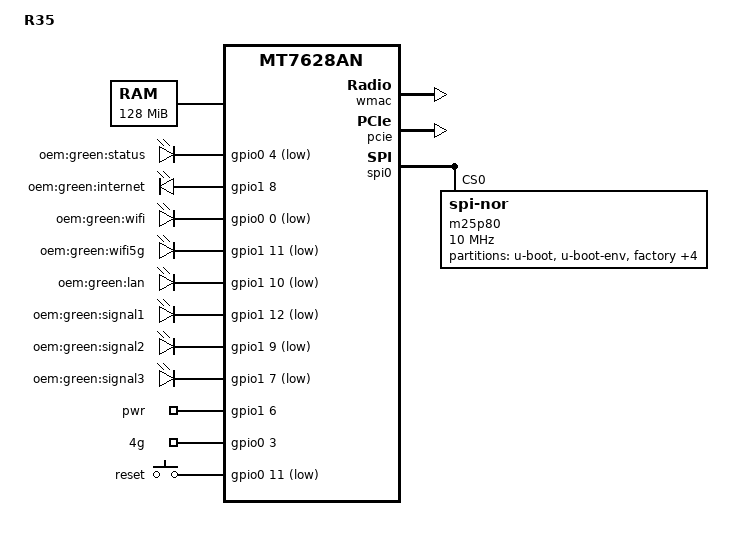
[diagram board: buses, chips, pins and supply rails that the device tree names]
/dts-v1/;

#include "mt7628an.dtsi"

#include <dt-bindings/input/input.h>
#include <dt-bindings/gpio/gpio.h>

/ {
	compatible = "OEM,MT7628", "mediatek,mt7628an-soc";
	model = "R35";

	chosen {
		bootargs = "console=ttyS0,115200";
	};

	memory@0 {
		device_type = "memory";
		reg = <0x0 0x8000000>;
	};

	gpio-leds {
		compatible = "gpio-leds";
		status {
			label = "oem:green:status";
			gpios = <&gpio0 4 GPIO_ACTIVE_LOW>;
		};

		internet {
			label = "oem:green:internet";
			gpios = <&gpio1 8 GPIO_ACTIVE_HIGH>;
		};

		wifi {
			label = "oem:green:wifi";
			gpios = <&gpio0 0 GPIO_ACTIVE_LOW>;
		};

		wifi5g {
			label = "oem:green:wifi5g";
			gpios = <&gpio1 11 GPIO_ACTIVE_LOW>;
		};

		lan {
			label = "oem:green:lan";
			gpios = <&gpio1 10 GPIO_ACTIVE_LOW>;
		};

		signal1 {
			label = "oem:green:signal1";
			gpios = <&gpio1 12 GPIO_ACTIVE_LOW>;
		};

		signal2 {
			label = "oem:green:signal2";
			gpios = <&gpio1 9 GPIO_ACTIVE_LOW>;
		};

		signal3 {
			label = "oem:green:signal3";
			gpios = <&gpio1 7 GPIO_ACTIVE_LOW>;
		};
	};

	gpio_export {
		compatible = "gpio-export";
		#size-cells = <0>;

		pwr {
			gpio-export,name = "pwr";
			gpio-export,output = <0>;
			gpios = <&gpio1 6 GPIO_ACTIVE_HIGH>;
		};

		usb4g {
			gpio-export,name = "4g";
			gpio-export,output = <0>;
			gpios = <&gpio0 3 GPIO_ACTIVE_HIGH>;
		};
	};

	gpio-keys-polled {
		compatible = "gpio-keys-polled";
		#address-cells = <1>;
		#size-cells = <0>;
		poll-interval = <20>;
		reset {
			label = "reset";
			gpios = <&gpio0 11 GPIO_ACTIVE_LOW>;
			linux,code = <KEY_RESTART>;
		};
	};
};

&ethernet {
	mtd-mac-address = <&bdinfo 0xDE00>;
	mediatek,port-map = "lllwl";
};

&pinctrl {
	state_default: pinctrl0 {
		gpio {
			ralink,group = "refclk", "wled_an", "gpio", "spi cs1";
			ralink,function = "gpio";
		};
	};
};

&wmac {
	status = "okay";
};

&pcie {
	status = "okay";
};

&spi0 {
	status = "okay";

	m25p80@0 {
		#address-cells = <1>;
		#size-cells = <1>;
		compatible = "jedec,spi-nor";
		reg = <0>;
		spi-max-frequency = <10000000>;
		m25p,chunked-io = <32>;

		partition@0 {
			label = "u-boot";
			reg = <0x0 0x30000>;
		};

		partition@30000 {
			label = "u-boot-env";
			reg = <0x30000 0x10000>;
		};

		factory: partition@40000 {
			label = "factory";
			reg = <0x40000 0x10000>;
		};

		debug: partition@fd0000 {
			label = "debug";
			reg = <0xfd0000 0x10000>;
		};

		backup: partition@fe0000 {
			label = "backup";
			reg = <0xfe0000 0x10000>;
		};

		bdinfo: partition@ff0000 {
			label = "bdinfo";
			reg = <0xff0000 0x10000>;
		};

		partition@50000 {
			label = "firmware";
			reg = <0x50000 0xf80000>;
		};
	};
};
